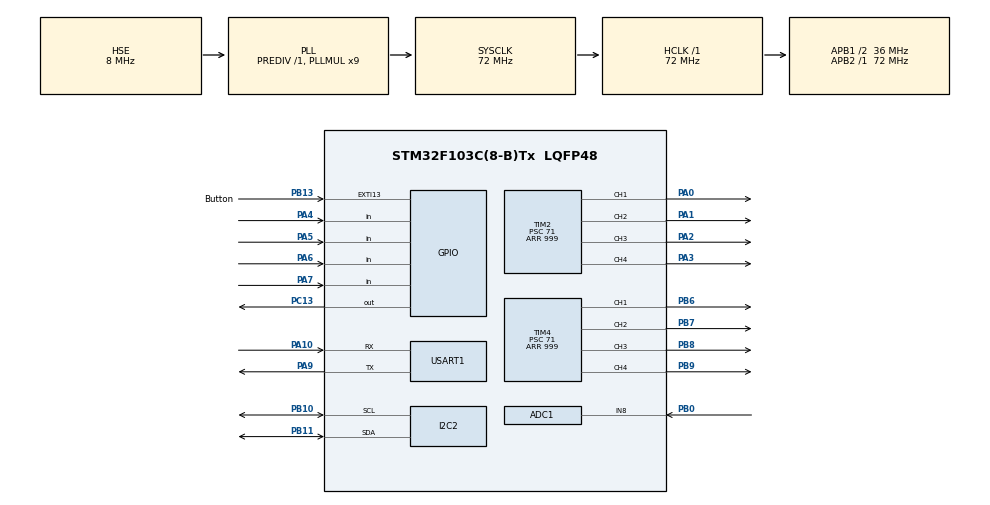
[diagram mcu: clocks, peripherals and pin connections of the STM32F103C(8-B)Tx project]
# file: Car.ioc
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ADC1.Channel-3\#ChannelRegularConversion=ADC_CHANNEL_8
ADC1.NbrOfConversionFlag=1
ADC1.Rank-3\#ChannelRegularConversion=1
ADC1.SamplingTime-3\#ChannelRegularConversion=ADC_SAMPLETIME_239CYCLES_5
ADC1.master=1
I2C2.I2C_Mode=I2C_Fast
Mcu.Family=STM32F1
Mcu.Name=STM32F103C(8-B)Tx
Mcu.Package=LQFP48
NVIC.PriorityGroup=NVIC_PRIORITYGROUP_4
NVIC.TIM3_IRQn=true\:0\:0\:false\:false\:true\:true\:true\:true
NVIC.USART1_IRQn=true\:0\:0\:false\:false\:true\:true\:true\:true
PA0-WKUP.Signal=S_TIM2_CH1_ETR
PA1.Signal=S_TIM2_CH2
PA10.Mode=Asynchronous
PA10.Signal=USART1_RX
PA13.Mode=Serial_Wire
PA13.Signal=SYS_JTMS-SWDIO
PA14.Mode=Serial_Wire
PA14.Signal=SYS_JTCK-SWCLK
PA2.Signal=S_TIM2_CH3
PA3.Signal=S_TIM2_CH4
PA4.Signal=GPIO_Input
PA5.Signal=GPIO_Input
PA6.Signal=GPIO_Input
PA7.Signal=GPIO_Input
PA9.Mode=Asynchronous
PA9.Signal=USART1_TX
PB0.Signal=ADCx_IN8
PB10.Mode=I2C
PB10.Signal=I2C2_SCL
PB11.Mode=I2C
PB11.Signal=I2C2_SDA
PB13.GPIO_Label=Button
PB13.Signal=GPXTI13
PB6.Signal=S_TIM4_CH1
PB7.Signal=S_TIM4_CH2
PB8.Signal=S_TIM4_CH3
PB9.Signal=S_TIM4_CH4
PC13-TAMPER-RTC.GPIO_PuPd=GPIO_PULLUP
PC13-TAMPER-RTC.Signal=GPIO_Output
PD0-OSC_IN.Mode=HSE-External-Oscillator
PD0-OSC_IN.Signal=RCC_OSC_IN
PD1-OSC_OUT.Mode=HSE-External-Oscillator
PD1-OSC_OUT.Signal=RCC_OSC_OUT
ProjectManager.HeapSize=0x200
ProjectManager.StackSize=0x400
ProjectManager.TargetToolchain=MDK-ARM V5.32
RCC.ADCPresc=RCC_ADCPCLK2_DIV6
RCC.AHBFreq_Value=72000000
RCC.APB1CLKDivider=RCC_HCLK_DIV2
RCC.APB1Freq_Value=36000000
RCC.APB1TimFreq_Value=72000000
RCC.APB2Freq_Value=72000000
RCC.APB2TimFreq_Value=72000000
RCC.HCLKFreq_Value=72000000
RCC.PLLMUL=RCC_PLL_MUL9
RCC.PLLSourceVirtual=RCC_PLLSOURCE_HSE
RCC.SYSCLKFreq_VALUE=72000000
RCC.SYSCLKSource=RCC_SYSCLKSOURCE_PLLCLK
RCC.USBFreq_Value=72000000
SH.ADCx_IN8.0=ADC1_IN8,IN8
SH.S_TIM2_CH1_ETR.0=TIM2_CH1,PWM Generation1 CH1
SH.S_TIM2_CH2.0=TIM2_CH2,PWM Generation2 CH2
SH.S_TIM2_CH3.0=TIM2_CH3,PWM Generation3 CH3
SH.S_TIM2_CH4.0=TIM2_CH4,PWM Generation4 CH4
SH.S_TIM4_CH1.0=TIM4_CH1,PWM Generation1 CH1
SH.S_TIM4_CH2.0=TIM4_CH2,PWM Generation2 CH2
SH.S_TIM4_CH3.0=TIM4_CH3,PWM Generation3 CH3
SH.S_TIM4_CH4.0=TIM4_CH4,PWM Generation4 CH4
TIM2.Channel-PWM\ Generation1\ CH1=TIM_CHANNEL_1
TIM2.Channel-PWM\ Generation2\ CH2=TIM_CHANNEL_2
TIM2.Channel-PWM\ Generation3\ CH3=TIM_CHANNEL_3
TIM2.Channel-PWM\ Generation4\ CH4=TIM_CHANNEL_4
TIM2.Period=999
TIM2.Prescaler=71
TIM3.AutoReloadPreload=TIM_AUTORELOAD_PRELOAD_ENABLE
TIM3.Period=10000-1
TIM3.Prescaler=7200-1
TIM4.AutoReloadPreload=TIM_AUTORELOAD_PRELOAD_ENABLE
TIM4.Channel-PWM\ Generation1\ CH1=TIM_CHANNEL_1
TIM4.Channel-PWM\ Generation2\ CH2=TIM_CHANNEL_2
TIM4.Channel-PWM\ Generation3\ CH3=TIM_CHANNEL_3
TIM4.Channel-PWM\ Generation4\ CH4=TIM_CHANNEL_4
TIM4.Period=999
TIM4.Prescaler=71
USART1.VirtualMode=VM_ASYNC
VP_TIM2_VS_ClockSourceINT.Mode=Internal
VP_TIM3_VS_ClockSourceINT.Mode=Internal
VP_TIM4_VS_ClockSourceINT.Mode=Internal
board=custom

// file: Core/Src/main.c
/* USER CODE BEGIN Header */
/**
  ******************************************************************************
  * @file           : main.c
  * @brief          : Main program body
  ******************************************************************************
  * @attention
  *
  * Copyright (c) 2026 STMicroelectronics.
  * All rights reserved.
  *
  * This software is licensed under terms that can be found in the LICENSE file
  * in the root directory of this software component.
  * If no LICENSE file comes with this software, it is provided AS-IS.
  *
  ******************************************************************************
  */
/* USER CODE END Header */
#include "main.h"
#include "adc.h"
#include "i2c.h"
#include "tim.h"
#include "usart.h"
#include "gpio.h"

/* USER CODE BEGIN Includes */
#include "car.h"
#include <stdio.h>
#include <string.h>
#include "OLED.h"
#include "track.h"
#include "button.h"
/* USER CODE END Includes */

void SystemClock_Config(void);

/* USER CODE BEGIN 0 */
int fputc(int ch, FILE *f)
{
  // 利用 HAL 库发送一个字符
  // &huart1 是你在 CubeMX 里配置的串口 1
  HAL_UART_Transmit(&huart1, (uint8_t *)&ch, 1, 0xFFFF);
  return ch;
}

void Update_PID_From_Knob(ADC_HandleTypeDef *hadc,PID_Controller pid) {
    uint32_t raw_val = Get_Knob_Value(hadc);

    // 映射计算：将 0-4095 映射到 0.0 - 50.0
    // 公式：(当前值 / 最大值) * 目标量程
    float mapped_kd = (raw_val / 4095.0f) * 50.0f;

    // 更新结构体中的参数
    pid->Kd = mapped_kd;
}
/* USER CODE END 0 */

int main(void)
{

  /* MCU Configuration--------------------------------------------------------*/

  /* Reset of all peripherals, Initializes the Flash interface and the Systick. */
  HAL_Init();

  /* Configure the system clock */
  SystemClock_Config();

  /* Initialize all configured peripherals */
  MX_GPIO_Init();
  MX_TIM2_Init();
  MX_USART1_UART_Init();
  MX_TIM4_Init();
  MX_TIM3_Init();
  MX_ADC1_Init();
  MX_I2C2_Init();
  /* USER CODE BEGIN 2 */
	HAL_GPIO_WritePin(GPIOC,GPIO_PIN_13,GPIO_PIN_RESET);
	Motor_Init();
	//uint16_t ccr = 100;
	CarPosition car=createCar();
  HAL_TIM_Base_Start_IT(&htim3);
  /* USER CODE END 2 */

  /* Infinite loop */
  /* USER CODE BEGIN WHILE */
  // Oled->OLED_Clear(Oled);
  // Oled->OLED_ShowString(Oled, 0, 0, "SYSTEM READY", 16);
  // Oled->OLED_Update(Oled);
  // uint32_t last_oled_time = 0;
  // HAL_Delay(1000);

	while(HAL_GPIO_ReadPin(Button_GPIO_Port,Button_Pin)==GPIO_PIN_SET);
	printf("start");
  while (1)
  {
		//HAL_GPIO_TogglePin(GPIOC, GPIO_PIN_13);

    //  printf("continue");

		/*旋钮修改pid
		static uint32_t last_tick = 0;
    if (HAL_GetTick() - last_tick > 50) {
        Update_PID_From_Knob(&hadc1,car->pid); // 使用你的 PID 指针对象
        last_tick = HAL_GetTick();

        // 打印调试，看看旋钮生效没 (注意：大量 printf 会影响实时性，调稳后关闭)
        if(last_tick%1000<50){
        printf("ADC Raw: %d, Target Kd: %.2f\r\n", Get_Knob_Value(&hadc1), car->pid->Kd);
        }
    }
		*/
    car->TRACK_PID(car);
    HAL_Delay(10);

    /* 循环遍历车的状态
    for(enum Direction i=stop;i<DIR_MAX_COUNT;i++){
      printf("%d",i);
      car->MOVE(i,40);
      HAL_Delay(3000);
    }
    */
    /*
    car->MOVE(car->direction,car->speed);
    car->MOVE(forward,car->speed);
    HAL_Delay(10);
    HAL_Delay(1000);
    */

		if(HAL_GPIO_ReadPin(Button_GPIO_Port,Button_Pin)==GPIO_PIN_RESET){
      car->MOVE(stop,0);
	    printf("stop");
      while(HAL_GPIO_ReadPin(Button_GPIO_Port,Button_Pin)==GPIO_PIN_RESET);

	    while(HAL_GPIO_ReadPin(Button_GPIO_Port,Button_Pin)==GPIO_PIN_SET);
	    HAL_Delay(500);

    }

    /* USER CODE END WHILE */

  }
}

void SystemClock_Config(void)
{
  RCC_OscInitTypeDef RCC_OscInitStruct = {0};
  RCC_ClkInitTypeDef RCC_ClkInitStruct = {0};
  RCC_PeriphCLKInitTypeDef PeriphClkInit = {0};

  /** Initializes the RCC Oscillators according to the specified parameters
  * in the RCC_OscInitTypeDef structure.
  */
  RCC_OscInitStruct.OscillatorType = RCC_OSCILLATORTYPE_HSE;
  RCC_OscInitStruct.HSEState = RCC_HSE_ON;
  RCC_OscInitStruct.HSEPredivValue = RCC_HSE_PREDIV_DIV1;
  RCC_OscInitStruct.HSIState = RCC_HSI_ON;
  RCC_OscInitStruct.PLL.PLLState = RCC_PLL_ON;
  RCC_OscInitStruct.PLL.PLLSource = RCC_PLLSOURCE_HSE;
  RCC_OscInitStruct.PLL.PLLMUL = RCC_PLL_MUL9;
  if (HAL_RCC_OscConfig(&RCC_OscInitStruct) != HAL_OK)
  {
    Error_Handler();
  }

  /** Initializes the CPU, AHB and APB buses clocks
  */
  RCC_ClkInitStruct.ClockType = RCC_CLOCKTYPE_HCLK|RCC_CLOCKTYPE_SYSCLK
                              |RCC_CLOCKTYPE_PCLK1|RCC_CLOCKTYPE_PCLK2;
  RCC_ClkInitStruct.SYSCLKSource = RCC_SYSCLKSOURCE_PLLCLK;
  RCC_ClkInitStruct.AHBCLKDivider = RCC_SYSCLK_DIV1;
  RCC_ClkInitStruct.APB1CLKDivider = RCC_HCLK_DIV2;
  RCC_ClkInitStruct.APB2CLKDivider = RCC_HCLK_DIV1;

  if (HAL_RCC_ClockConfig(&RCC_ClkInitStruct, FLASH_LATENCY_2) != HAL_OK)
  {
    Error_Handler();
  }
  PeriphClkInit.PeriphClockSelection = RCC_PERIPHCLK_ADC;
  PeriphClkInit.AdcClockSelection = RCC_ADCPCLK2_DIV6;
  if (HAL_RCCEx_PeriphCLKConfig(&PeriphClkInit) != HAL_OK)
  {
    Error_Handler();
  }
}

/* USER CODE BEGIN 4 */
void HAL_TIM_PeriodElapsedCallback(TIM_HandleTypeDef *htim)
{
	if(htim == &htim3){
		//HAL_GPIO_TogglePin(GPIOC, GPIO_PIN_13);
    int sensor_val[4];

    read_track(sensor_val);

		printf("STATE: [%d %d %d %d]\r\n",
            sensor_val[0],
            sensor_val[1],
            sensor_val[2],
            sensor_val[3]);

	}
}
/* USER CODE END 4 */

void Error_Handler(void)
{
  __disable_irq();
  while (1)
  {
  }
}
